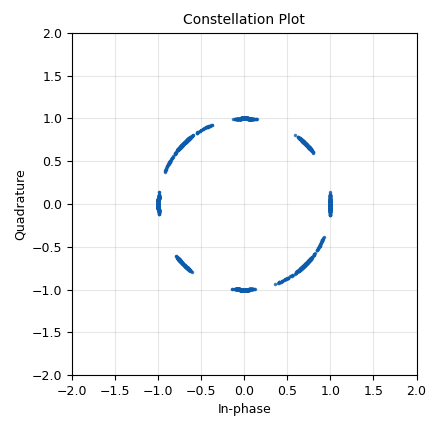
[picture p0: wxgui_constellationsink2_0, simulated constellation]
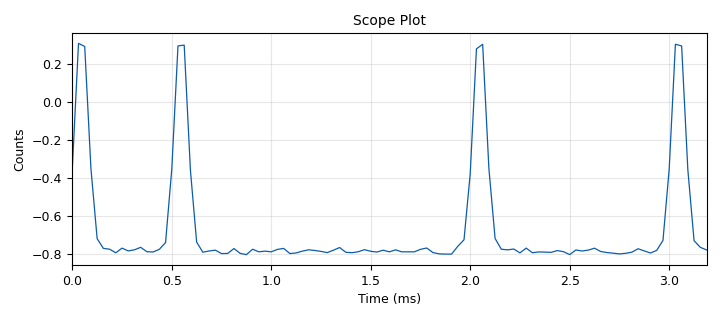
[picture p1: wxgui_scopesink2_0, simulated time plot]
<?xml version='1.0' encoding='utf-8'?>
<?grc format='1' created='3.7.9'?>
<flow_graph>
<block>
<key>options</key>
<param><key>id</key><value>top_block</value></param>
<param><key>category</key><value>Custom</value></param>
<param><key>generate_options</key><value>wx_gui</value></param>
</block>
<block>
<key>variable</key>
<param><key>id</key><value>samp_rate</value></param>
<param><key>value</key><value>32000</value></param>
</block>
<block>
<key>variable</key>
<param><key>id</key><value>samples_per_symbol</value></param>
<param><key>value</key><value>10</value></param>
</block>
<block>
<key>analog_quadrature_demod_cf</key>
<param><key>id</key><value>analog_quadrature_demod_cf_0</value></param>
<param><key>gain</key><value>1</value></param>
</block>
<block>
<key>blocks_throttle</key>
<param><key>id</key><value>blocks_throttle_0</value></param>
<param><key>samples_per_second</key><value>samp_rate</value></param>
<param><key>type</key><value>complex</value></param>
</block>
<block>
<key>blocks_vector_source_x</key>
<param><key>id</key><value>blocks_vector_source_x_0</value></param>
<param><key>type</key><value>byte</value></param>
<param><key>repeat</key><value>True</value></param>
<param><key>vector</key><value>(1,1, 0, 0, 1, 1, 0, 0, 0,1, 0, 0, 1,1, 0, 0,1, 0, 1,1, 0,1, 0, 0)</value></param>
</block>
<block>
<key>channels_impairments</key>
<param><key>id</key><value>channels_impairments_0</value></param>
<param><key>freq_offset</key><value>0</value></param>
<param><key>magbal</key><value>0</value></param>
<param><key>phasebal</key><value>0</value></param>
<param><key>i_ofs</key><value>0</value></param>
<param><key>phase_noise_mag</key><value>0</value></param>
<param><key>q_ofs</key><value>0</value></param>
<param><key>gamma</key><value>0</value></param>
</block>
<block>
<key>digital_gmsk_mod</key>
<param><key>id</key><value>digital_gmsk_mod_0</value></param>
<param><key>bt</key><value>0.3</value></param>
<param><key>samples_per_symbol</key><value>2</value></param>
</block>
<block>
<key>wxgui_constellationsink2</key>
<param><key>id</key><value>wxgui_constellationsink2_0</value></param>
<param><key>const_size</key><value>2048</value></param>
<param><key>frame_rate</key><value>5</value></param>
<param><key>gain_mu</key><value>0.005</value></param>
<param><key>loop_bw</key><value>6.28/100.0</value></param>
<param><key>M</key><value>4</value></param>
<param><key>fmax</key><value>0.06</value></param>
<param><key>mu</key><value>0.5</value></param>
<param><key>omega_limit</key><value>0.005</value></param>
<param><key>samp_rate</key><value>samp_rate</value></param>
<param><key>symbol_rate</key><value>samp_rate/4.</value></param>
<param><key>theta</key><value>0</value></param>
<param><key>title</key><value>Constellation Plot</value></param>
</block>
<block>
<key>wxgui_scopesink2</key>
<param><key>id</key><value>wxgui_scopesink2_0</value></param>
<param><key>ac_couple</key><value>False</value></param>
<param><key>num_inputs</key><value>1</value></param>
<param><key>samp_rate</key><value>samp_rate</value></param>
<param><key>t_scale</key><value>0</value></param>
<param><key>title</key><value>Scope Plot</value></param>
<param><key>trig_mode</key><value>wxgui.TRIG_MODE_AUTO</value></param>
<param><key>type</key><value>float</value></param>
<param><key>v_offset</key><value>0</value></param>
<param><key>v_scale</key><value>0</value></param>
<param><key>xy_mode</key><value>False</value></param>
<param><key>y_axis_label</key><value>Counts</value></param>
</block>
<connection><source_block_id>analog_quadrature_demod_cf_0</source_block_id><sink_block_id>wxgui_scopesink2_0</sink_block_id><source_key>0</source_key><sink_key>0</sink_key></connection>
<connection><source_block_id>blocks_throttle_0</source_block_id><sink_block_id>channels_impairments_0</sink_block_id><source_key>0</source_key><sink_key>0</sink_key></connection>
<connection><source_block_id>blocks_vector_source_x_0</source_block_id><sink_block_id>digital_gmsk_mod_0</sink_block_id><source_key>0</source_key><sink_key>0</sink_key></connection>
<connection><source_block_id>channels_impairments_0</source_block_id><sink_block_id>analog_quadrature_demod_cf_0</sink_block_id><source_key>0</source_key><sink_key>0</sink_key></connection>
<connection><source_block_id>channels_impairments_0</source_block_id><sink_block_id>wxgui_constellationsink2_0</sink_block_id><source_key>0</source_key><sink_key>0</sink_key></connection>
<connection><source_block_id>digital_gmsk_mod_0</source_block_id><sink_block_id>blocks_throttle_0</sink_block_id><source_key>0</source_key><sink_key>0</sink_key></connection>
</flow_graph>
